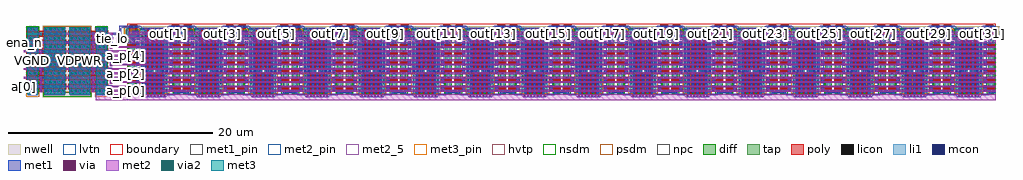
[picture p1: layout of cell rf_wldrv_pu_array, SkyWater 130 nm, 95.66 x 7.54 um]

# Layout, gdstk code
from math import pi, radians
import gdstk
lib = gdstk.Library(unit=1e-6, precision=1e-09)
def R(c, l, rs):  # rectangles x0, y0, x1, y1
    for r in rs: c.add(gdstk.rectangle(r[:2], r[2:], *l))
def A(c, l, x, y, w, h, nx, ny, dx, dy):  # array of equal rectangles
    R(c, l, [(x+i*dx, y+j*dy, x+i*dx+w, y+j*dy+h) for i in range(nx) for j in range(ny)])
def P(c, l, *ps):  # polygons
    for p in ps: c.add(gdstk.Polygon(p, *l))
nwell = (64, 20)
diff = (65, 20)
tap = (65, 44)
poly = (66, 20)
licon = (66, 44)
li1 = (67, 20)
mcon = (67, 44)
met1_pin = (68, 16)
met1 = (68, 20)
via = (68, 44)
met2_5 = (69, 5)
met2_pin = (69, 16)
met2 = (69, 20)
via2 = (69, 44)
met3_pin = (70, 16)
met3 = (70, 20)
hvtp = (78, 44)
nsdm = (93, 44)
psdm = (94, 20)
npc = (95, 20)
lvtn = (125, 44)
boundary = (235, 4)

rf_wldrv_pu = lib.new_cell('rf_wldrv_pu')
R(rf_wldrv_pu, nwell, [(1.175,2.515,2.965,2.52), (1.17,2.52,2.965,5.735), (-0.355,5.735,2.965,6.735)])
A(rf_wldrv_pu, diff, 0.235, 0.465, 0.52, 0.3, 1, 6, 0, 0.86)
A(rf_wldrv_pu, diff, 0.145, 0.765, 0.61, 0.56, 1, 5, 0, 0.86)
R(rf_wldrv_pu, diff, [(0.145,0.135,0.755,0.465), (1.64,0.235,2.785,2.065), (1.64,2.695,2.785,6.395), (0.145,5.065,0.755,5.395), (-0.175,5.945,1.08,6.365), (-0.125,6.365,0.125,6.555)])
R(rf_wldrv_pu, tap, [(1.35,0.235,1.64,2.065), (1.35,2.695,1.64,6.395)])
A(rf_wldrv_pu, poly, 0.105, 0.54, 1.06, 0.15, 1, 6, 0, 0.86)
R(rf_wldrv_pu, poly, [(1.94,0.105,2.09,2.14), (2.37,0.105,2.52,2.14), (0.895,0.45,1.165,0.54), (0.895,0.69,1.165,0.78), (0.895,1.31,1.165,1.4), (0.895,1.55,1.165,1.64), (1.94,2.14,2.52,2.24), (0.895,2.17,1.165,2.26), (1.925,2.24,2.535,2.51), (0.895,2.41,1.165,2.5), (1.94,2.51,2.52,2.62), (1.94,2.62,2.09,6.525), (2.37,2.62,2.52,6.525), (0.895,3.03,1.165,3.12), (0.895,3.27,1.165,3.36), (0.895,3.89,1.165,3.98), (0.895,4.13,1.165,4.22), (0.895,4.75,1.165,4.84), (0.895,4.99,1.165,5.08), (0.2,5.815,0.815,6.52), (0.2,6.52,0.95,6.82)])
A(rf_wldrv_pu, licon, 1.37, 0.385, 0.17, 0.17, 1, 5, 0, 0.34)
A(rf_wldrv_pu, licon, 1.715, 0.385, 0.17, 0.17, 3, 5, 0.43, 0.34)
A(rf_wldrv_pu, licon, 0.945, 0.53, 0.17, 0.17, 1, 6, 0, 0.86)
A(rf_wldrv_pu, licon, 0.375, 0.745, 0.17, 0.17, 1, 10, 0, 0.43)
A(rf_wldrv_pu, licon, 1.715, 2.76, 0.17, 0.17, 3, 11, 0.43, 0.34)
A(rf_wldrv_pu, licon, 1.365, 2.93, 0.17, 0.17, 1, 10, 0, 0.34)
R(rf_wldrv_pu, licon, [(0.205,0.255,0.375,0.425), (0.545,0.255,0.715,0.425), (1.975,2.29,2.145,2.46), (2.315,2.29,2.485,2.46), (0.205,5.105,0.375,5.275), (0.545,5.105,0.715,5.275), (-0.085,5.985,0.085,6.155), (0.87,6.07,1.04,6.24), (-0.085,6.325,0.085,6.495), (0.36,6.6,0.53,6.77), (0.7,6.6,0.87,6.77)])
A(rf_wldrv_pu, li1, 0.945, 0.29, 0.17, 0.65, 1, 6, 0, 0.86)
A(rf_wldrv_pu, li1, 0.295, 0.745, 0.33, 0.6, 1, 5, 0, 0.86)
R(rf_wldrv_pu, li1, [(0,0.175,0.715,0.505), (1.365,0.215,1.885,2.085), (2.145,0.215,2.315,2.085), (2.575,0.215,2.745,2.085), (1.315,2.29,2.565,2.46), (1.365,2.675,1.885,5.715), (2.145,2.675,2.315,6.415), (2.575,2.675,2.745,6.415), (0.205,5.015,0.715,5.545), (-0.085,5.715,1.885,5.885), (-0.085,5.885,0.085,6.575), (1.365,5.885,1.885,6.415), (0.515,6.07,1.12,6.24), (0.28,6.6,0.95,6.77)])
A(rf_wldrv_pu, mcon, 1.715, 0.345, 0.17, 0.17, 3, 5, 0.43, 0.36)
A(rf_wldrv_pu, mcon, 1.715, 2.89, 0.17, 0.17, 1, 8, 0, 0.36)
A(rf_wldrv_pu, mcon, 2.145, 2.91, 0.17, 0.17, 1, 9, 0, 0.36)
A(rf_wldrv_pu, mcon, 2.575, 2.91, 0.17, 0.17, 1, 9, 0, 0.36)
R(rf_wldrv_pu, mcon, [(0.125,0.255,0.295,0.425), (0.485,0.255,0.655,0.425), (0.945,0.35,1.115,0.52), (0.945,0.71,1.115,0.88), (0.945,1.21,1.115,1.38), (0.945,1.57,1.115,1.74), (0.945,2.07,1.115,2.24), (1.38,2.29,1.55,2.46), (1.74,2.29,1.91,2.46), (0.945,2.43,1.115,2.6), (0.945,2.93,1.115,3.1), (0.945,3.29,1.115,3.46), (0.945,3.79,1.115,3.96), (0.945,4.15,1.115,4.32), (0.945,4.65,1.115,4.82), (0.945,5.01,1.115,5.18), (0.515,5.015,0.685,5.185), (0.515,5.375,0.685,5.545), (0.545,6.07,0.715,6.24), (0.905,6.07,1.075,6.24), (0.35,6.6,0.52,6.77), (0.71,6.6,0.88,6.77)])
A(rf_wldrv_pu, met1_pin, 0.885, 0.29, 0.29, 0.65, 1, 6, 0, 0.86)
R(rf_wldrv_pu, met1_pin, [(2.56,6.37,2.66,6.6), (0,6.57,0.1,6.8)])
A(rf_wldrv_pu, met1, 0.885, 0.29, 0.29, 0.65, 1, 6, 0, 0.86)
R(rf_wldrv_pu, met1, [(1.54,-0.205,2.82,-0.05), (0.67,-0.05,2.82,0.055), (0.67,0.055,1.455,0.14), (1.685,0.055,1.915,2.065), (2.545,0.055,2.775,2.065), (0.67,0.14,0.715,0.195), (0,0.195,0.715,0.485), (2.115,0.235,2.345,5.92), (1.315,2.23,1.975,2.52), (1.315,2.52,1.545,5.41), (1.685,2.695,1.915,5.015), (2.545,2.695,2.775,5.015), (0.485,4.955,0.715,5.41), (1.685,5.015,1.945,5.675), (2.53,5.015,2.79,5.675), (0.485,5.41,1.545,5.64), (0.905,5.64,1.135,6.04), (1.685,5.675,1.915,5.78), (2.545,5.675,2.775,6.18), (1.705,5.92,2.345,6.18), (0.485,6.04,1.135,6.27), (1.315,6.37,2.66,6.57), (0,6.57,2.66,6.6), (0,6.6,1.27,6.8)])
P(rf_wldrv_pu, met1, [(1.27,6.8),(1.27,6.6),(1.47,6.6)],
  [(1.115,6.57),(1.315,6.57),(1.315,6.37)],
  [(0.425,0.195),(0.67,0.195),(0.67,-0.05)],
  [(0.715,0.195),(0.715,0.14),(0.77,0.14)],
  [(1.455,0.14),(1.455,0.055),(1.54,0.055)],
  [(1.385,-0.05),(1.54,-0.05),(1.54,-0.205)])
A(rf_wldrv_pu, via, 1.625, -0.15, 0.15, 0.15, 4, 1, 0.32, 0)
R(rf_wldrv_pu, via, [(1.74,5.11,1.89,5.26), (2.585,5.11,2.735,5.26), (1.74,5.43,1.89,5.58), (2.585,5.43,2.735,5.58), (1.79,5.975,1.94,6.125), (2.11,5.975,2.26,6.125)])
R(rf_wldrv_pu, met2_pin, [(0,-0.545,2.82,0.055), (0,5.045,2.82,5.645), (0.15,5.91,2.51,6.19)])
A(rf_wldrv_pu, met2, 0, 0.315, 2.66, 0.17, 1, 11, 0, 0.43)
R(rf_wldrv_pu, met2, [(0,-0.545,2.82,0.055), (0,5.045,2.82,5.645), (0.15,5.91,2.51,6.19)])
R(rf_wldrv_pu, hvtp, [(0.02,5.765,0.995,6.545)])
R(rf_wldrv_pu, nsdm, [(0.02,0.01,0.88,2.57), (1.64,0.11,2.91,2.19), (0.02,2.57,1.64,5.52), (1.225,5.52,1.64,6.52)])
R(rf_wldrv_pu, psdm, [(1.225,0.11,1.64,2.19), (1.64,2.57,2.91,6.52), (-0.3,5.82,1.205,6.49), (-0.25,6.49,0.25,6.68)])
A(rf_wldrv_pu, npc, 0.845, 0.43, 0.37, 0.37, 1, 6, 0, 0.86)
R(rf_wldrv_pu, npc, [(1.875,2.19,2.585,2.56), (0.26,6.5,0.97,6.87)])
R(rf_wldrv_pu, lvtn, [(0.055,0.36,0.935,5.17)])
R(rf_wldrv_pu, boundary, [(0,0,2.66,7)])
rf_wldrv_pu.add(gdstk.Label('VGND', (1.41,-0.245), layer=69, texttype=5))
rf_wldrv_pu.add(gdstk.Label('VDPWR', (1.41,5.345), layer=69, texttype=5))
rf_wldrv_pu.add(gdstk.Label('ena', (1.03,4.915), layer=68, texttype=5))
rf_wldrv_pu.add(gdstk.Label('a0', (1.03,0.615), layer=68, texttype=5))
rf_wldrv_pu.add(gdstk.Label('a1', (1.03,1.475), layer=68, texttype=5))
rf_wldrv_pu.add(gdstk.Label('a2', (1.03,2.335), layer=68, texttype=5))
rf_wldrv_pu.add(gdstk.Label('a3', (1.03,3.195), layer=68, texttype=5))
rf_wldrv_pu.add(gdstk.Label('a4', (1.03,4.055), layer=68, texttype=5))
rf_wldrv_pu.add(gdstk.Label('out', (1.33,6.05), layer=69, texttype=5))
rf_wldrv_pu.add(gdstk.Label('pu_ena', (2.61,6.485), layer=68, texttype=5))
rf_wldrv_pu.add(gdstk.Label('pu_ena', (0.05,6.685), layer=68, texttype=5))

rf_wldrv_ckt = lib.new_cell('rf_wldrv_ckt')
R(rf_wldrv_ckt, met1, [(-0.13,-0.16,0.13,0.16)])
R(rf_wldrv_ckt, via, [(-0.075,-0.075,0.075,0.075)])
R(rf_wldrv_ckt, met2, [(-0.16,-0.13,0.16,0.13)])

rf_wldrv_ckt_array = lib.new_cell('rf_wldrv_ckt_array')
rf_wldrv_ckt_array.add(gdstk.Reference(rf_wldrv_ckt, (84.09,3.895)))
rf_wldrv_ckt_array.add(gdstk.Reference(rf_wldrv_ckt, (84.09,3.035)))
rf_wldrv_ckt_array.add(gdstk.Reference(rf_wldrv_ckt, (84.09,2.175)))
rf_wldrv_ckt_array.add(gdstk.Reference(rf_wldrv_ckt, (84.09,1.315)))
rf_wldrv_ckt_array.add(gdstk.Reference(rf_wldrv_ckt, (84.09,0.455)))
rf_wldrv_ckt_array.add(gdstk.Reference(rf_wldrv_ckt, (80.83,3.895)))
rf_wldrv_ckt_array.add(gdstk.Reference(rf_wldrv_ckt, (80.83,3.035)))
rf_wldrv_ckt_array.add(gdstk.Reference(rf_wldrv_ckt, (80.83,2.175)))
rf_wldrv_ckt_array.add(gdstk.Reference(rf_wldrv_ckt, (80.83,1.315)))
rf_wldrv_ckt_array.add(gdstk.Reference(rf_wldrv_ckt, (80.83,0.775)))
rf_wldrv_ckt_array.add(gdstk.Reference(rf_wldrv_ckt, (78.77,3.895)))
rf_wldrv_ckt_array.add(gdstk.Reference(rf_wldrv_ckt, (78.77,3.035)))
rf_wldrv_ckt_array.add(gdstk.Reference(rf_wldrv_ckt, (78.77,2.175)))
rf_wldrv_ckt_array.add(gdstk.Reference(rf_wldrv_ckt, (78.77,1.635)))
rf_wldrv_ckt_array.add(gdstk.Reference(rf_wldrv_ckt, (78.77,0.455)))
rf_wldrv_ckt_array.add(gdstk.Reference(rf_wldrv_ckt, (75.51,3.895)))
rf_wldrv_ckt_array.add(gdstk.Reference(rf_wldrv_ckt, (75.51,3.035)))
rf_wldrv_ckt_array.add(gdstk.Reference(rf_wldrv_ckt, (75.51,2.175)))
rf_wldrv_ckt_array.add(gdstk.Reference(rf_wldrv_ckt, (75.51,1.635)))
rf_wldrv_ckt_array.add(gdstk.Reference(rf_wldrv_ckt, (75.51,0.775)))
rf_wldrv_ckt_array.add(gdstk.Reference(rf_wldrv_ckt, (73.45,3.895)))
rf_wldrv_ckt_array.add(gdstk.Reference(rf_wldrv_ckt, (73.45,3.035)))
rf_wldrv_ckt_array.add(gdstk.Reference(rf_wldrv_ckt, (73.45,2.495)))
rf_wldrv_ckt_array.add(gdstk.Reference(rf_wldrv_ckt, (73.45,1.315)))
rf_wldrv_ckt_array.add(gdstk.Reference(rf_wldrv_ckt, (73.45,0.455)))
rf_wldrv_ckt_array.add(gdstk.Reference(rf_wldrv_ckt, (70.19,3.895)))
rf_wldrv_ckt_array.add(gdstk.Reference(rf_wldrv_ckt, (70.19,3.035)))
rf_wldrv_ckt_array.add(gdstk.Reference(rf_wldrv_ckt, (70.19,2.495)))
rf_wldrv_ckt_array.add(gdstk.Reference(rf_wldrv_ckt, (70.19,1.315)))
rf_wldrv_ckt_array.add(gdstk.Reference(rf_wldrv_ckt, (70.19,0.775)))
rf_wldrv_ckt_array.add(gdstk.Reference(rf_wldrv_ckt, (68.13,3.895)))
rf_wldrv_ckt_array.add(gdstk.Reference(rf_wldrv_ckt, (68.13,3.035)))
rf_wldrv_ckt_array.add(gdstk.Reference(rf_wldrv_ckt, (68.13,2.495)))
rf_wldrv_ckt_array.add(gdstk.Reference(rf_wldrv_ckt, (68.13,1.635)))
rf_wldrv_ckt_array.add(gdstk.Reference(rf_wldrv_ckt, (68.13,0.455)))
rf_wldrv_ckt_array.add(gdstk.Reference(rf_wldrv_ckt, (64.87,3.895)))
rf_wldrv_ckt_array.add(gdstk.Reference(rf_wldrv_ckt, (64.87,3.035)))
rf_wldrv_ckt_array.add(gdstk.Reference(rf_wldrv_ckt, (64.87,2.495)))
rf_wldrv_ckt_array.add(gdstk.Reference(rf_wldrv_ckt, (64.87,1.635)))
rf_wldrv_ckt_array.add(gdstk.Reference(rf_wldrv_ckt, (64.87,0.775)))
rf_wldrv_ckt_array.add(gdstk.Reference(rf_wldrv_ckt, (62.81,3.895)))
rf_wldrv_ckt_array.add(gdstk.Reference(rf_wldrv_ckt, (62.81,3.355)))
rf_wldrv_ckt_array.add(gdstk.Reference(rf_wldrv_ckt, (62.81,2.175)))
rf_wldrv_ckt_array.add(gdstk.Reference(rf_wldrv_ckt, (62.81,1.315)))
rf_wldrv_ckt_array.add(gdstk.Reference(rf_wldrv_ckt, (62.81,0.455)))
rf_wldrv_ckt_array.add(gdstk.Reference(rf_wldrv_ckt, (59.55,3.895)))
rf_wldrv_ckt_array.add(gdstk.Reference(rf_wldrv_ckt, (59.55,3.355)))
rf_wldrv_ckt_array.add(gdstk.Reference(rf_wldrv_ckt, (59.55,2.175)))
rf_wldrv_ckt_array.add(gdstk.Reference(rf_wldrv_ckt, (59.55,1.315)))
rf_wldrv_ckt_array.add(gdstk.Reference(rf_wldrv_ckt, (59.55,0.775)))
rf_wldrv_ckt_array.add(gdstk.Reference(rf_wldrv_ckt, (57.49,3.895)))
rf_wldrv_ckt_array.add(gdstk.Reference(rf_wldrv_ckt, (57.49,3.355)))
rf_wldrv_ckt_array.add(gdstk.Reference(rf_wldrv_ckt, (57.49,2.175)))
rf_wldrv_ckt_array.add(gdstk.Reference(rf_wldrv_ckt, (57.49,1.635)))
rf_wldrv_ckt_array.add(gdstk.Reference(rf_wldrv_ckt, (57.49,0.455)))
rf_wldrv_ckt_array.add(gdstk.Reference(rf_wldrv_ckt, (54.23,3.895)))
rf_wldrv_ckt_array.add(gdstk.Reference(rf_wldrv_ckt, (54.23,3.355)))
rf_wldrv_ckt_array.add(gdstk.Reference(rf_wldrv_ckt, (54.23,2.175)))
rf_wldrv_ckt_array.add(gdstk.Reference(rf_wldrv_ckt, (54.23,1.635)))
rf_wldrv_ckt_array.add(gdstk.Reference(rf_wldrv_ckt, (54.23,0.775)))
rf_wldrv_ckt_array.add(gdstk.Reference(rf_wldrv_ckt, (52.17,3.895)))
rf_wldrv_ckt_array.add(gdstk.Reference(rf_wldrv_ckt, (52.17,3.355)))
rf_wldrv_ckt_array.add(gdstk.Reference(rf_wldrv_ckt, (52.17,2.495)))
rf_wldrv_ckt_array.add(gdstk.Reference(rf_wldrv_ckt, (52.17,1.315)))
rf_wldrv_ckt_array.add(gdstk.Reference(rf_wldrv_ckt, (52.17,0.455)))
rf_wldrv_ckt_array.add(gdstk.Reference(rf_wldrv_ckt, (48.91,3.895)))
rf_wldrv_ckt_array.add(gdstk.Reference(rf_wldrv_ckt, (48.91,3.355)))
rf_wldrv_ckt_array.add(gdstk.Reference(rf_wldrv_ckt, (48.91,2.495)))
rf_wldrv_ckt_array.add(gdstk.Reference(rf_wldrv_ckt, (48.91,1.315)))
rf_wldrv_ckt_array.add(gdstk.Reference(rf_wldrv_ckt, (48.91,0.775)))
rf_wldrv_ckt_array.add(gdstk.Reference(rf_wldrv_ckt, (46.85,3.895)))
rf_wldrv_ckt_array.add(gdstk.Reference(rf_wldrv_ckt, (46.85,3.355)))
rf_wldrv_ckt_array.add(gdstk.Reference(rf_wldrv_ckt, (46.85,2.495)))
rf_wldrv_ckt_array.add(gdstk.Reference(rf_wldrv_ckt, (46.85,1.635)))
rf_wldrv_ckt_array.add(gdstk.Reference(rf_wldrv_ckt, (46.85,0.455)))
rf_wldrv_ckt_array.add(gdstk.Reference(rf_wldrv_ckt, (43.59,3.895)))
rf_wldrv_ckt_array.add(gdstk.Reference(rf_wldrv_ckt, (43.59,3.355)))
rf_wldrv_ckt_array.add(gdstk.Reference(rf_wldrv_ckt, (43.59,2.495)))
rf_wldrv_ckt_array.add(gdstk.Reference(rf_wldrv_ckt, (43.59,1.635)))
rf_wldrv_ckt_array.add(gdstk.Reference(rf_wldrv_ckt, (43.59,0.775)))
rf_wldrv_ckt_array.add(gdstk.Reference(rf_wldrv_ckt, (41.53,4.215)))
rf_wldrv_ckt_array.add(gdstk.Reference(rf_wldrv_ckt, (41.53,3.035)))
rf_wldrv_ckt_array.add(gdstk.Reference(rf_wldrv_ckt, (41.53,2.175)))
rf_wldrv_ckt_array.add(gdstk.Reference(rf_wldrv_ckt, (41.53,1.315)))
rf_wldrv_ckt_array.add(gdstk.Reference(rf_wldrv_ckt, (41.53,0.455)))
rf_wldrv_ckt_array.add(gdstk.Reference(rf_wldrv_ckt, (38.27,4.215)))
rf_wldrv_ckt_array.add(gdstk.Reference(rf_wldrv_ckt, (38.27,3.035)))
rf_wldrv_ckt_array.add(gdstk.Reference(rf_wldrv_ckt, (38.27,2.175)))
rf_wldrv_ckt_array.add(gdstk.Reference(rf_wldrv_ckt, (38.27,1.315)))
rf_wldrv_ckt_array.add(gdstk.Reference(rf_wldrv_ckt, (38.27,0.775)))
rf_wldrv_ckt_array.add(gdstk.Reference(rf_wldrv_ckt, (36.21,4.215)))
rf_wldrv_ckt_array.add(gdstk.Reference(rf_wldrv_ckt, (36.21,3.035)))
rf_wldrv_ckt_array.add(gdstk.Reference(rf_wldrv_ckt, (36.21,2.175)))
rf_wldrv_ckt_array.add(gdstk.Reference(rf_wldrv_ckt, (36.21,1.635)))
rf_wldrv_ckt_array.add(gdstk.Reference(rf_wldrv_ckt, (36.21,0.455)))
rf_wldrv_ckt_array.add(gdstk.Reference(rf_wldrv_ckt, (32.95,4.215)))
rf_wldrv_ckt_array.add(gdstk.Reference(rf_wldrv_ckt, (32.95,3.035)))
rf_wldrv_ckt_array.add(gdstk.Reference(rf_wldrv_ckt, (32.95,2.175)))
rf_wldrv_ckt_array.add(gdstk.Reference(rf_wldrv_ckt, (32.95,1.635)))
rf_wldrv_ckt_array.add(gdstk.Reference(rf_wldrv_ckt, (32.95,0.775)))
rf_wldrv_ckt_array.add(gdstk.Reference(rf_wldrv_ckt, (30.89,4.215)))
rf_wldrv_ckt_array.add(gdstk.Reference(rf_wldrv_ckt, (30.89,3.035)))
rf_wldrv_ckt_array.add(gdstk.Reference(rf_wldrv_ckt, (30.89,2.495)))
rf_wldrv_ckt_array.add(gdstk.Reference(rf_wldrv_ckt, (30.89,1.315)))
rf_wldrv_ckt_array.add(gdstk.Reference(rf_wldrv_ckt, (30.89,0.455)))
rf_wldrv_ckt_array.add(gdstk.Reference(rf_wldrv_ckt, (27.63,4.215)))
rf_wldrv_ckt_array.add(gdstk.Reference(rf_wldrv_ckt, (27.63,3.035)))
rf_wldrv_ckt_array.add(gdstk.Reference(rf_wldrv_ckt, (27.63,2.495)))
rf_wldrv_ckt_array.add(gdstk.Reference(rf_wldrv_ckt, (27.63,1.315)))
rf_wldrv_ckt_array.add(gdstk.Reference(rf_wldrv_ckt, (27.63,0.775)))
rf_wldrv_ckt_array.add(gdstk.Reference(rf_wldrv_ckt, (25.57,4.215)))
rf_wldrv_ckt_array.add(gdstk.Reference(rf_wldrv_ckt, (25.57,3.035)))
rf_wldrv_ckt_array.add(gdstk.Reference(rf_wldrv_ckt, (25.57,2.495)))
rf_wldrv_ckt_array.add(gdstk.Reference(rf_wldrv_ckt, (25.57,1.635)))
rf_wldrv_ckt_array.add(gdstk.Reference(rf_wldrv_ckt, (25.57,0.455)))
rf_wldrv_ckt_array.add(gdstk.Reference(rf_wldrv_ckt, (22.31,4.215)))
rf_wldrv_ckt_array.add(gdstk.Reference(rf_wldrv_ckt, (22.31,3.035)))
rf_wldrv_ckt_array.add(gdstk.Reference(rf_wldrv_ckt, (22.31,2.495)))
rf_wldrv_ckt_array.add(gdstk.Reference(rf_wldrv_ckt, (22.31,1.635)))
rf_wldrv_ckt_array.add(gdstk.Reference(rf_wldrv_ckt, (22.31,0.775)))
rf_wldrv_ckt_array.add(gdstk.Reference(rf_wldrv_ckt, (20.25,4.215)))
rf_wldrv_ckt_array.add(gdstk.Reference(rf_wldrv_ckt, (20.25,3.355)))
rf_wldrv_ckt_array.add(gdstk.Reference(rf_wldrv_ckt, (20.25,2.175)))
rf_wldrv_ckt_array.add(gdstk.Reference(rf_wldrv_ckt, (20.25,1.315)))
rf_wldrv_ckt_array.add(gdstk.Reference(rf_wldrv_ckt, (20.25,0.455)))
rf_wldrv_ckt_array.add(gdstk.Reference(rf_wldrv_ckt, (16.99,4.215)))
rf_wldrv_ckt_array.add(gdstk.Reference(rf_wldrv_ckt, (16.99,3.355)))
rf_wldrv_ckt_array.add(gdstk.Reference(rf_wldrv_ckt, (16.99,2.175)))
rf_wldrv_ckt_array.add(gdstk.Reference(rf_wldrv_ckt, (16.99,1.315)))
rf_wldrv_ckt_array.add(gdstk.Reference(rf_wldrv_ckt, (16.99,0.775)))
rf_wldrv_ckt_array.add(gdstk.Reference(rf_wldrv_ckt, (14.93,4.215)))
rf_wldrv_ckt_array.add(gdstk.Reference(rf_wldrv_ckt, (14.93,3.355)))
rf_wldrv_ckt_array.add(gdstk.Reference(rf_wldrv_ckt, (14.93,2.175)))
rf_wldrv_ckt_array.add(gdstk.Reference(rf_wldrv_ckt, (14.93,1.635)))
rf_wldrv_ckt_array.add(gdstk.Reference(rf_wldrv_ckt, (14.93,0.455)))
rf_wldrv_ckt_array.add(gdstk.Reference(rf_wldrv_ckt, (11.67,4.215)))
rf_wldrv_ckt_array.add(gdstk.Reference(rf_wldrv_ckt, (11.67,3.355)))
rf_wldrv_ckt_array.add(gdstk.Reference(rf_wldrv_ckt, (11.67,2.175)))
rf_wldrv_ckt_array.add(gdstk.Reference(rf_wldrv_ckt, (11.67,1.635)))
rf_wldrv_ckt_array.add(gdstk.Reference(rf_wldrv_ckt, (11.67,0.775)))
rf_wldrv_ckt_array.add(gdstk.Reference(rf_wldrv_ckt, (9.61,4.215)))
rf_wldrv_ckt_array.add(gdstk.Reference(rf_wldrv_ckt, (9.61,3.355)))
rf_wldrv_ckt_array.add(gdstk.Reference(rf_wldrv_ckt, (9.61,2.495)))
rf_wldrv_ckt_array.add(gdstk.Reference(rf_wldrv_ckt, (9.61,1.315)))
rf_wldrv_ckt_array.add(gdstk.Reference(rf_wldrv_ckt, (9.61,0.455)))
rf_wldrv_ckt_array.add(gdstk.Reference(rf_wldrv_ckt, (6.35,4.215)))
rf_wldrv_ckt_array.add(gdstk.Reference(rf_wldrv_ckt, (6.35,3.355)))
rf_wldrv_ckt_array.add(gdstk.Reference(rf_wldrv_ckt, (6.35,2.495)))
rf_wldrv_ckt_array.add(gdstk.Reference(rf_wldrv_ckt, (6.35,1.315)))
rf_wldrv_ckt_array.add(gdstk.Reference(rf_wldrv_ckt, (6.35,0.775)))
rf_wldrv_ckt_array.add(gdstk.Reference(rf_wldrv_ckt, (4.29,4.215)))
rf_wldrv_ckt_array.add(gdstk.Reference(rf_wldrv_ckt, (4.29,3.355)))
rf_wldrv_ckt_array.add(gdstk.Reference(rf_wldrv_ckt, (4.29,2.495)))
rf_wldrv_ckt_array.add(gdstk.Reference(rf_wldrv_ckt, (4.29,1.635)))
rf_wldrv_ckt_array.add(gdstk.Reference(rf_wldrv_ckt, (4.29,0.455)))
rf_wldrv_ckt_array.add(gdstk.Reference(rf_wldrv_ckt, (1.03,4.215)))
rf_wldrv_ckt_array.add(gdstk.Reference(rf_wldrv_ckt, (1.03,3.355)))
rf_wldrv_ckt_array.add(gdstk.Reference(rf_wldrv_ckt, (1.03,2.495)))
rf_wldrv_ckt_array.add(gdstk.Reference(rf_wldrv_ckt, (1.03,1.635)))
rf_wldrv_ckt_array.add(gdstk.Reference(rf_wldrv_ckt, (1.03,0.775)))

rf_wldrv_pu_array = lib.new_cell('rf_wldrv_pu_array')
R(rf_wldrv_pu_array, nwell, [(-8.315,-0.23,-3.485,6.795)])
R(rf_wldrv_pu_array, diff, [(-9.775,0.24,-8.775,6.615), (-8.135,0.24,-6.135,6.595), (-5.665,0.24,-3.665,6.595), (-3.025,0.24,-2.025,6.615)])
R(rf_wldrv_pu_array, tap, [(-9.775,-0.05,-8.775,0.24), (-8.135,-0.05,-6.135,0.24), (-5.665,-0.05,-3.665,0.24), (-3.025,-0.05,-2.025,0.24)])
A(rf_wldrv_pu_array, poly, -9.905, 0.54, 3.9, 0.15, 1, 14, 0, 0.43)
A(rf_wldrv_pu_array, poly, -5.795, 0.54, 3.9, 0.15, 1, 14, 0, 0.43)
A(rf_wldrv_pu_array, poly, -8.7, 0.69, 0.49, 0.28, 1, 7, 0, 0.86)
A(rf_wldrv_pu_array, poly, -3.59, 0.69, 0.49, 0.28, 1, 7, 0, 0.86)
A(rf_wldrv_pu_array, licon, -7.9, -0.025, 0.17, 0.17, 5, 1, 0.34, 0)
A(rf_wldrv_pu_array, licon, -5.43, -0.025, 0.17, 0.17, 5, 1, 0.34, 0)
A(rf_wldrv_pu_array, licon, -9.7, 0.315, 0.17, 0.17, 3, 15, 0.34, 0.43)
A(rf_wldrv_pu_array, licon, -8.07, 0.315, 0.17, 0.17, 6, 15, 0.34, 0.43)
A(rf_wldrv_pu_array, licon, -5.6, 0.315, 0.17, 0.17, 6, 15, 0.34, 0.43)
A(rf_wldrv_pu_array, licon, -2.95, 0.315, 0.17, 0.17, 3, 15, 0.34, 0.43)
A(rf_wldrv_pu_array, licon, -8.54, 0.745, 0.17, 0.17, 1, 7, 0, 0.86)
A(rf_wldrv_pu_array, licon, -3.43, 0.745, 0.17, 0.17, 1, 7, 0, 0.86)
R(rf_wldrv_pu_array, licon, [(-9.53,-0.025,-9.36,0.145), (-9.19,-0.025,-9.02,0.145), (-2.78,-0.025,-2.61,0.145), (-2.44,-0.025,-2.27,0.145)])
A(rf_wldrv_pu_array, li1, -9.795, 0.315, 1.04, 0.17, 1, 13, 0, 0.43)
A(rf_wldrv_pu_array, li1, -8.54, 0.315, 0.17, 0.68, 1, 6, 0, 0.86)
A(rf_wldrv_pu_array, li1, -8.155, 0.315, 2.04, 0.17, 1, 15, 0, 0.43)
A(rf_wldrv_pu_array, li1, -5.685, 0.315, 2.04, 0.17, 1, 15, 0, 0.43)
A(rf_wldrv_pu_array, li1, -3.43, 0.315, 0.17, 0.68, 1, 7, 0, 0.86)
A(rf_wldrv_pu_array, li1, -3.045, 0.315, 1.04, 0.17, 1, 15, 0, 0.43)
R(rf_wldrv_pu_array, li1, [(-9.735,-0.025,-8.815,0.315), (-8.095,-0.025,-6.175,0.315), (-5.625,-0.025,-3.705,0.315), (-2.985,-0.025,-2.065,0.315), (-8.54,5.825,-8.37,5.905), (-9.795,5.905,-8.37,6.075), (-8.54,6.075,-8.37,6.155), (-9.795,6.335,-8.755,6.505)])
A(rf_wldrv_pu_array, mcon, -9.72, 0.315, 0.17, 0.17, 3, 13, 0.36, 0.43)
A(rf_wldrv_pu_array, mcon, -8.54, 0.315, 0.17, 0.17, 1, 6, 0, 0.86)
A(rf_wldrv_pu_array, mcon, -8.12, 0.315, 0.17, 0.17, 6, 15, 0.36, 0.43)
A(rf_wldrv_pu_array, mcon, -5.65, 0.315, 0.17, 0.17, 6, 15, 0.36, 0.43)
A(rf_wldrv_pu_array, mcon, -3.43, 0.315, 0.17, 0.17, 1, 7, 0, 0.86)
A(rf_wldrv_pu_array, mcon, -2.97, 0.315, 0.17, 0.17, 3, 15, 0.36, 0.43)
A(rf_wldrv_pu_array, mcon, -9.72, 6.335, 0.17, 0.17, 3, 1, 0.36, 0)
A(rf_wldrv_pu_array, met1, -9.825, 0.24, 1.1, 0.32, 1, 8, 0, 0.86)
A(rf_wldrv_pu_array, met1, -8.585, 0.24, 0.26, 0.32, 1, 6, 0, 0.86)
A(rf_wldrv_pu_array, met1, -8.185, 0.24, 2.1, 0.32, 1, 8, 0, 0.86)
A(rf_wldrv_pu_array, met1, -5.715, 0.24, 2.1, 0.32, 1, 8, 0, 0.86)
A(rf_wldrv_pu_array, met1, -3.475, 0.24, 0.26, 0.32, 1, 7, 0, 0.86)
A(rf_wldrv_pu_array, met1, -3.075, 0.24, 1.1, 0.32, 1, 8, 0, 0.86)
A(rf_wldrv_pu_array, met1, -1.74, 0.24, 0.26, 0.32, 1, 7, 0, 0.86)
A(rf_wldrv_pu_array, met1, -1.725, 0.56, 0.23, 0.155, 1, 7, 0, 0.86)
A(rf_wldrv_pu_array, met1, -9.855, 0.715, 3.8, 0.23, 1, 5, 0, 0.86)
A(rf_wldrv_pu_array, met1, -5.745, 0.715, 4.25, 0.23, 1, 5, 0, 0.86)
R(rf_wldrv_pu_array, met1, [(-6.375,0.7,-6.055,0.715), (-6.375,0.945,-6.055,0.96), (-6.375,1.56,-6.055,1.575), (-6.375,1.805,-6.055,1.82), (-6.375,2.42,-6.055,2.435), (-6.375,2.665,-6.055,2.68), (-6.375,3.28,-6.055,3.295), (-6.375,3.525,-6.055,3.54), (-6.375,4.14,-6.055,4.155), (-6.375,4.385,-6.055,4.4), (-9.855,5.015,-1.495,5.245), (-6.375,5.86,-6.055,5.875), (-8.215,5.875,-6.055,6.105), (-5.745,5.875,-0.585,6.105), (-6.375,6.105,-6.055,6.12), (-0.815,6.105,-0.585,6.57), (-0.815,6.57,0,6.8)])
A(rf_wldrv_pu_array, via, -9.67, 0.325, 0.15, 0.15, 3, 8, 0.32, 0.86)
A(rf_wldrv_pu_array, via, -8.53, 0.325, 0.15, 0.15, 1, 6, 0, 0.86)
A(rf_wldrv_pu_array, via, -8.01, 0.325, 0.15, 0.15, 6, 8, 0.32, 0.86)
A(rf_wldrv_pu_array, via, -5.54, 0.325, 0.15, 0.15, 6, 8, 0.32, 0.86)
A(rf_wldrv_pu_array, via, -3.42, 0.325, 0.15, 0.15, 1, 7, 0, 0.86)
A(rf_wldrv_pu_array, via, -2.92, 0.325, 0.15, 0.15, 3, 8, 0.32, 0.86)
A(rf_wldrv_pu_array, via, -1.685, 0.325, 0.15, 0.15, 1, 7, 0, 0.86)
A(rf_wldrv_pu_array, via, -6.29, 0.755, 0.15, 0.15, 1, 5, 0, 0.86)
R(rf_wldrv_pu_array, via, [(-6.29,5.915,-6.14,6.065)])
A(rf_wldrv_pu_array, met2_5, -0.2, 0.315, 0.2, 0.17, 1, 11, 0, 0.43)
R(rf_wldrv_pu_array, met2_5, [(-1.48,5.475,-1.38,5.645), (-1.48,5.905,-1.38,6.075)])
A(rf_wldrv_pu_array, met2_pin, -10.18, 0.745, 0.1, 0.17, 1, 6, 0, 0.86)
A(rf_wldrv_pu_array, met2_pin, 0.15, 5.91, 2.36, 0.28, 32, 1, 2.66, 0)
R(rf_wldrv_pu_array, met2_pin, [(-1.1,5.045,0,5.645)])
A(rf_wldrv_pu_array, met2, -9.825, 0.24, 1.1, 0.32, 1, 8, 0, 0.86)
A(rf_wldrv_pu_array, met2, -8.585, 0.24, 0.26, 0.32, 1, 6, 0, 0.86)
A(rf_wldrv_pu_array, met2, -8.185, 0.24, 2.1, 0.32, 1, 8, 0, 0.86)
A(rf_wldrv_pu_array, met2, -5.715, 0.24, 2.1, 0.32, 1, 8, 0, 0.86)
A(rf_wldrv_pu_array, met2, -3.475, 0.24, 0.26, 0.32, 1, 7, 0, 0.86)
A(rf_wldrv_pu_array, met2, -1.74, 0.315, 1.74, 0.17, 1, 6, 0, 0.86)
A(rf_wldrv_pu_array, met2, -8.54, 0.56, 0.17, 0.185, 1, 6, 0, 0.86)
A(rf_wldrv_pu_array, met2, -3.43, 0.56, 0.17, 0.185, 1, 7, 0, 0.86)
A(rf_wldrv_pu_array, met2, -10.18, 0.745, 1.81, 0.17, 1, 5, 0, 0.86)
A(rf_wldrv_pu_array, met2, -6.375, 0.745, 6.375, 0.17, 1, 5, 0, 0.86)
A(rf_wldrv_pu_array, met2, -3.075, 1.1, 1.1, 0.32, 1, 7, 0, 0.86)
R(rf_wldrv_pu_array, met2, [(-3.075,-0.545,0,0.055), (-3.075,0.055,-1.975,0.56), (-1.74,0.24,-1.48,0.315), (-1.74,0.485,-1.48,0.56), (-6.375,0.7,-6.055,0.745), (-6.375,0.915,-6.055,0.96), (-1.74,1.1,-1.48,1.175), (-1.74,1.345,-1.48,1.42), (-6.375,1.56,-6.055,1.605), (-6.375,1.775,-6.055,1.82), (-1.74,1.96,-1.48,2.035), (-1.74,2.205,-1.48,2.28), (-6.375,2.42,-6.055,2.465), (-6.375,2.635,-6.055,2.68), (-1.74,2.82,-1.48,2.895), (-1.74,3.065,-1.48,3.14), (-6.375,3.28,-6.055,3.325), (-6.375,3.495,-6.055,3.54), (-1.74,3.68,-1.48,3.755), (-1.74,3.925,-1.48,4), (-6.375,4.14,-6.055,4.185), (-6.375,4.355,-6.055,4.4), (-1.74,4.54,-1.48,4.615), (-1.74,4.785,-1.48,4.86), (-10.18,5.045,-3.26,5.215), (-1.1,5.045,0,5.645), (-1.74,5.4,-1.48,5.475), (-1.74,5.475,-1.38,5.645), (-1.74,5.645,-1.48,5.72), (-6.375,5.86,-6.055,5.905), (-6.375,5.905,-1.38,6.075), (-6.375,6.075,-6.055,6.12)])
A(rf_wldrv_pu_array, via2, -9.575, 0.3, 0.2, 0.2, 1, 8, 0, 0.86)
A(rf_wldrv_pu_array, via2, -9.175, 0.3, 0.2, 0.2, 1, 8, 0, 0.86)
A(rf_wldrv_pu_array, via2, -8.035, 0.3, 0.2, 0.2, 5, 8, 0.4, 0.86)
A(rf_wldrv_pu_array, via2, -5.565, 0.3, 0.2, 0.2, 5, 8, 0.4, 0.86)
A(rf_wldrv_pu_array, via2, -2.825, 0.3, 0.2, 0.2, 1, 8, 0, 0.86)
A(rf_wldrv_pu_array, via2, -2.425, 0.3, 0.2, 0.2, 1, 8, 0, 0.86)
R(rf_wldrv_pu_array, met3_pin, [(-9.805,0.06,-8.745,6.615), (-8.165,0.06,-6.105,6.615), (-5.695,0.06,-3.635,6.615), (-3.055,0.06,-1.995,6.615)])
R(rf_wldrv_pu_array, met3, [(-9.805,0.06,-8.745,6.615), (-8.165,0.06,-6.105,6.615), (-5.695,0.06,-3.635,6.615), (-3.055,0.06,-1.995,6.615)])
A(rf_wldrv_pu_array, hvtp, 5.3, 5.765, 0.04, 0.78, 15, 1, 5.32, 0)
A(rf_wldrv_pu_array, nsdm, 5.3, 0.01, 0.04, 5.51, 15, 1, 5.32, 0)
R(rf_wldrv_pu_array, nsdm, [(-8.26,-0.175,-3.54,0.24), (-9.9,0.24,-8.65,6.74), (-3.15,0.24,-1.9,6.74)])
R(rf_wldrv_pu_array, psdm, [(-9.9,-0.175,-8.65,0.24), (-3.15,-0.175,-1.9,0.24), (-8.26,0.24,-3.54,6.72)])
A(rf_wldrv_pu_array, npc, -8.64, 0.645, 0.37, 0.37, 1, 7, 0, 0.86)
A(rf_wldrv_pu_array, npc, -3.53, 0.645, 0.37, 0.37, 1, 7, 0, 0.86)
A(rf_wldrv_pu_array, npc, 2.585, 2.19, 0.15, 0.37, 16, 1, 5.32, 0)
A(rf_wldrv_pu_array, lvtn, 5.265, 0.36, 0.11, 4.81, 15, 1, 5.32, 0)
r = gdstk.Reference(rf_wldrv_pu, (5.32,0), rotation=pi, x_reflection=True); r.repetition = gdstk.Repetition(16, 1, v1=(5.32,0), v2=(0,7)); rf_wldrv_pu_array.add(r)
r = gdstk.Reference(rf_wldrv_pu, (0,0)); r.repetition = gdstk.Repetition(16, 1, v1=(5.32,0), v2=(0,7)); rf_wldrv_pu_array.add(r)
rf_wldrv_pu_array.add(gdstk.Reference(rf_wldrv_ckt_array, (0,0)))
r = gdstk.Reference(rf_wldrv_ckt, (4.29,4.755)); r.repetition = gdstk.Repetition(16, 1, v1=(5.32,0), v2=(0,0.32)); rf_wldrv_pu_array.add(r)
r = gdstk.Reference(rf_wldrv_ckt, (1.03,4.755)); r.repetition = gdstk.Repetition(16, 1, v1=(5.32,0), v2=(0,0.32)); rf_wldrv_pu_array.add(r)
rf_wldrv_pu_array.add(gdstk.Label('a_p[0]', (-0.1,0.4), layer=69, texttype=5))
rf_wldrv_pu_array.add(gdstk.Label('a_n[0]', (-0.1,0.83), layer=69, texttype=5))
rf_wldrv_pu_array.add(gdstk.Label('a_p[1]', (-0.1,1.26), layer=69, texttype=5))
rf_wldrv_pu_array.add(gdstk.Label('a_n[1]', (-0.1,1.69), layer=69, texttype=5))
rf_wldrv_pu_array.add(gdstk.Label('a_p[2]', (-0.1,2.12), layer=69, texttype=5))
rf_wldrv_pu_array.add(gdstk.Label('a_n[2]', (-0.1,2.55), layer=69, texttype=5))
rf_wldrv_pu_array.add(gdstk.Label('a_p[3]', (-0.1,2.98), layer=69, texttype=5))
rf_wldrv_pu_array.add(gdstk.Label('a_n[3]', (-0.1,3.41), layer=69, texttype=5))
rf_wldrv_pu_array.add(gdstk.Label('a_p[4]', (-0.1,3.84), layer=69, texttype=5))
rf_wldrv_pu_array.add(gdstk.Label('a_n[4]', (-0.1,4.27), layer=69, texttype=5))
rf_wldrv_pu_array.add(gdstk.Label('ena_p', (-0.1,4.7), layer=69, texttype=5))
rf_wldrv_pu_array.add(gdstk.Label('tie_lo', (-1.43,5.56), layer=69, texttype=5))
rf_wldrv_pu_array.add(gdstk.Label('tie_hi', (-1.43,5.99), layer=69, texttype=5))
rf_wldrv_pu_array.add(gdstk.Label('VGND', (-2.525,3.337), layer=70, texttype=5))
rf_wldrv_pu_array.add(gdstk.Label('VGND', (-9.275,3.337), layer=70, texttype=5))
rf_wldrv_pu_array.add(gdstk.Label('VDPWR', (-4.665,3.337), layer=70, texttype=5))
rf_wldrv_pu_array.add(gdstk.Label('VDPWR', (-0.55,5.345), layer=69, texttype=5))
rf_wldrv_pu_array.add(gdstk.Label('VDPWR', (-7.135,3.337), layer=70, texttype=5))
rf_wldrv_pu_array.add(gdstk.Label('ena_n', (-10.13,5.13), layer=69, texttype=5))
rf_wldrv_pu_array.add(gdstk.Label('a[0]', (-10.13,0.83), layer=69, texttype=5))
rf_wldrv_pu_array.add(gdstk.Label('a[1]', (-10.13,1.69), layer=69, texttype=5))
rf_wldrv_pu_array.add(gdstk.Label('a[2]', (-10.13,2.55), layer=69, texttype=5))
rf_wldrv_pu_array.add(gdstk.Label('a[3]', (-10.13,3.41), layer=69, texttype=5))
rf_wldrv_pu_array.add(gdstk.Label('a[4]', (-10.13,4.27), layer=69, texttype=5))
rf_wldrv_pu_array.add(gdstk.Label('out[0]', (1.33,6.05), layer=69, texttype=5))
rf_wldrv_pu_array.add(gdstk.Label('out[1]', (3.99,6.05), layer=69, texttype=5))
rf_wldrv_pu_array.add(gdstk.Label('out[2]', (6.65,6.05), layer=69, texttype=5))
rf_wldrv_pu_array.add(gdstk.Label('out[3]', (9.31,6.05), layer=69, texttype=5))
rf_wldrv_pu_array.add(gdstk.Label('out[4]', (11.97,6.05), layer=69, texttype=5))
rf_wldrv_pu_array.add(gdstk.Label('out[5]', (14.63,6.05), layer=69, texttype=5))
rf_wldrv_pu_array.add(gdstk.Label('out[6]', (17.29,6.05), layer=69, texttype=5))
rf_wldrv_pu_array.add(gdstk.Label('out[7]', (19.95,6.05), layer=69, texttype=5))
rf_wldrv_pu_array.add(gdstk.Label('out[8]', (22.61,6.05), layer=69, texttype=5))
rf_wldrv_pu_array.add(gdstk.Label('out[9]', (25.27,6.05), layer=69, texttype=5))
rf_wldrv_pu_array.add(gdstk.Label('out[10]', (27.93,6.05), layer=69, texttype=5))
rf_wldrv_pu_array.add(gdstk.Label('out[11]', (30.59,6.05), layer=69, texttype=5))
rf_wldrv_pu_array.add(gdstk.Label('out[12]', (33.25,6.05), layer=69, texttype=5))
rf_wldrv_pu_array.add(gdstk.Label('out[13]', (35.91,6.05), layer=69, texttype=5))
rf_wldrv_pu_array.add(gdstk.Label('out[14]', (38.57,6.05), layer=69, texttype=5))
rf_wldrv_pu_array.add(gdstk.Label('out[15]', (41.23,6.05), layer=69, texttype=5))
rf_wldrv_pu_array.add(gdstk.Label('out[16]', (43.89,6.05), layer=69, texttype=5))
rf_wldrv_pu_array.add(gdstk.Label('out[17]', (46.55,6.05), layer=69, texttype=5))
rf_wldrv_pu_array.add(gdstk.Label('out[18]', (49.21,6.05), layer=69, texttype=5))
rf_wldrv_pu_array.add(gdstk.Label('out[19]', (51.87,6.05), layer=69, texttype=5))
rf_wldrv_pu_array.add(gdstk.Label('out[20]', (54.53,6.05), layer=69, texttype=5))
rf_wldrv_pu_array.add(gdstk.Label('out[21]', (57.19,6.05), layer=69, texttype=5))
rf_wldrv_pu_array.add(gdstk.Label('out[22]', (59.85,6.05), layer=69, texttype=5))
rf_wldrv_pu_array.add(gdstk.Label('out[23]', (62.51,6.05), layer=69, texttype=5))
rf_wldrv_pu_array.add(gdstk.Label('out[24]', (65.17,6.05), layer=69, texttype=5))
rf_wldrv_pu_array.add(gdstk.Label('out[25]', (67.83,6.05), layer=69, texttype=5))
rf_wldrv_pu_array.add(gdstk.Label('out[26]', (70.49,6.05), layer=69, texttype=5))
rf_wldrv_pu_array.add(gdstk.Label('out[27]', (73.15,6.05), layer=69, texttype=5))
rf_wldrv_pu_array.add(gdstk.Label('out[28]', (75.81,6.05), layer=69, texttype=5))
rf_wldrv_pu_array.add(gdstk.Label('out[29]', (78.47,6.05), layer=69, texttype=5))
rf_wldrv_pu_array.add(gdstk.Label('out[30]', (81.13,6.05), layer=69, texttype=5))
rf_wldrv_pu_array.add(gdstk.Label('out[31]', (83.79,6.05), layer=69, texttype=5))

lib.write_gds('rf_wldrv_pu_array.gds')
